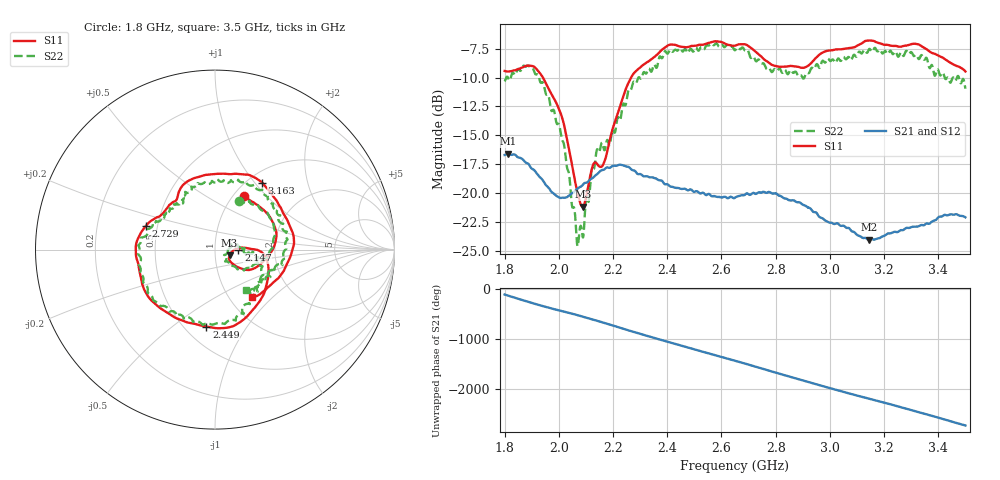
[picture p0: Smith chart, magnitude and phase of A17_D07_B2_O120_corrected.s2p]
! Created with skrf 1.9.0 (http://scikit-rf.org).
# Hz S RI R 50.0
!freq ReS11 ImS11 ReS21 ImS21 ReS12 ImS12 ReS22 ImS22
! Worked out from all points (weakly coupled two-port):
!   1601 points, 1.8 GHz to 3.5 GHz, reference 50 ohm
!   highest |S21| = -16.61 dB at 1.812 GHz (marker M1); lowest = -24.1 dB at 3.144 GHz (marker M2)
!   lowest |S11| = -21.2 dB at 2.088 GHz (marker M3), VSWR 1.19, Z = 58.7 - j3.81 ohm
!   |S11| at or under -10 dB: 1.942 GHz to 2.266 GHz (324.5 MHz wide, 15.4 % of centre)
!   |S22| runs from -24.6 to -7.0 dB; largest |S21 - S12| = 0.0027
!   S11 on the Smith chart (normalised r, x): 1.8 GHz: 1.12, +0.75; 2.147 GHz: 1.30, -0.00; 2.449 GHz: 0.63, -0.67; 2.729 GHz: 0.43, +0.13; 3.163 GHz: 1.16, +1.09; 3.5 GHz: 1.27, -0.76
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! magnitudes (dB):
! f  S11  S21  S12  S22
! 1.8 GHz  -9.4  -16.7  -16.7  -10.3
! 1.812 GHz  -9.5  -16.6  -16.6  -10.0
! 1.887 GHz  -9.0  -17.5  -17.5  -8.9
! 1.942 GHz  -10.0  -19.0  -19.0  -10.4
! 2.011 GHz  -13.4  -20.4  -20.4  -15.4
! 2.067 GHz  -19.7  -19.7  -19.7  -24.3
! 2.084 GHz  -21.1  -19.4  -19.4  -23.1
! 2.088 GHz  -21.2  -19.3  -19.3  -23.8
! 2.126 GHz  -17.6  -18.7  -18.7  -17.9
! 2.147 GHz  -17.7  -18.2  -18.2  -16.4
! 2.188 GHz  -15.4  -17.8  -17.8  -15.8
! 2.264 GHz  -10.1  -17.9  -17.9  -11.1
! 2.367 GHz  -7.9  -18.9  -18.8  -8.6
! 2.449 GHz  -7.3  -19.6  -19.6  -7.5
! 2.65 GHz  -7.2  -20.4  -20.4  -7.6
! 2.729 GHz  -7.8  -20.1  -20.1  -8.6
! 2.934 GHz  -8.7  -21.5  -21.5  -9.1
! 3.144 GHz  -6.8  -24.1  -24.0  -7.5
! 3.163 GHz  -6.8  -24.1  -24.0  -7.5
! 3.217 GHz  -7.2  -23.5  -23.5  -7.8
! 3.326 GHz  -7.1  -22.9  -22.9  -8.3
! 3.5 GHz  -9.5  -22.1  -22.1  -11.0
